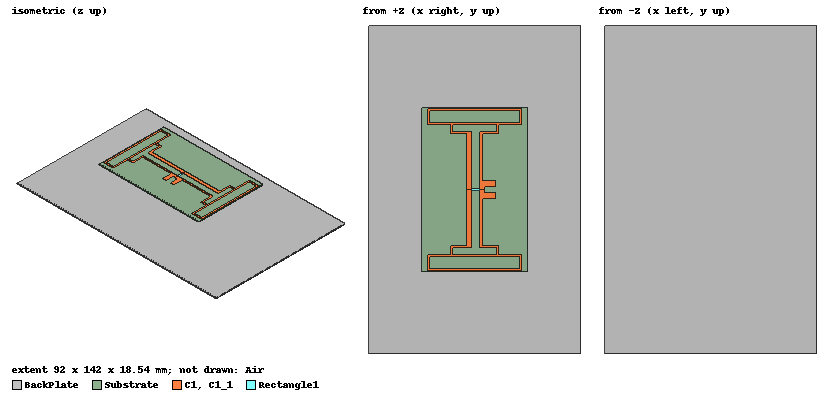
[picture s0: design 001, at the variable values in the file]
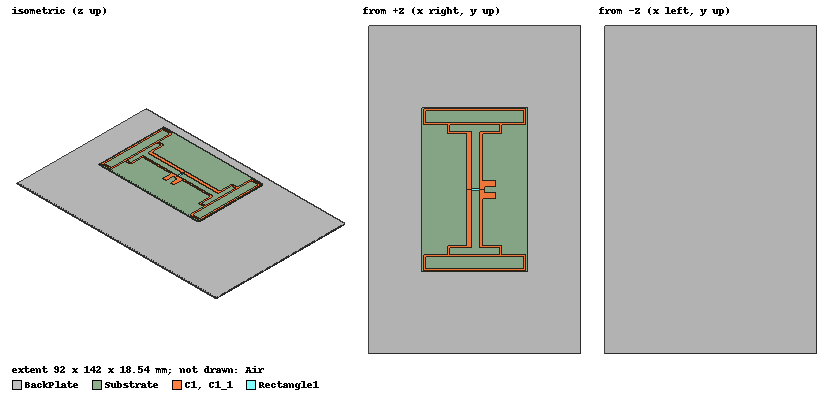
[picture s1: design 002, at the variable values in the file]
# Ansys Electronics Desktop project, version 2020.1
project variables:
  $ErValue = 4.8
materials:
  vacuum: permittivity=1
  FR4_epoxy: permittivity=$ErValue dielectric_loss_tangent=0.02
  copper: permeability=0.999991 conductivity=58000000
  air: permittivity=1.0006 permeability=1.0000004
  aluminum: permeability=1.000021 conductivity=38000000

design 001 (HFSS, DrivenModal, model units mm)
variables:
  subX = 46mm
  subY = 71mm
  h = 0.5mm
  C1X = 41mm
  C1Y = 7mm
  t = 0.035mm
  w = 1mm
  C2X = 20.7mm
  C2Y = 4.8mm
  C3X = 6.5mm
  C3Y = 25.2mm
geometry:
  Substrate [FR4_epoxy] = box(corner=(-subX/2, -subY/2, 0), size=(subX, subY, h))
  C1 [copper] = box(corner=(-C1X/2, -subY/2+0.5mm, h), size=(C1X, C1Y, t))
  C1s = box(corner=(-C1X/2+w, -subY/2+0.5mm+w, h), size=(C1X-2*w, C1Y-2*w, t))
  C2 = box(corner=(-C2X/2, -subY/2+0.5mm+c1Y-w, h), size=(C2X, C2Y, t))
  C2s = box(corner=(-C2X/2+w, -subY/2+0.5mm+c1Y, h), size=(C2X-2*w, C2Y-2*w, t))
  C3 = box(corner=(-C3X/2, -subY/2+0.5mm+c1Y+c2y-2*w, h), size=(C3X, C3Y, t))
  C3s = box(corner=(-C3X/2+w*2, -subY/2+0.5mm+c1Y+c2y-2*w, h), size=(C3X-3*w, C3Y, t))
  C1.unite(C2, C3)
  C1.subtract(C1s, C2s, C3s)
  Air [air] = box(corner=(-300mm, -300mm, -300mm), size=(600mm, 600mm, 600mm))
  C4 = box(corner=(C3X/2, -4mm, h), size=(6mm, 2.5mm, t))
  C5 = box(corner=(C3X/2, -1.5mm, h), size=(1mm, 1.5mm, t))
  C1.unite(C4, C5)
  C1_1 [copper] = C1.duplicate_mirror(point=(0mm, 0mm, 0mm), normal=(0mm, 1mm, 0mm))
  Rectangle1 = rectangle(corner=(-C3X/2+w*2, -0.5mm, h), x_size=c3x-w*3, y_size=1mm)
  BackPlate [aluminum] = box(corner=(-subX, -subY, -18mm), size=(subX*2, subY*2, h))
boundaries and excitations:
  Rad1: Radiation Objects=Air
  1: Lumped Port Objects=Rectangle1 Modes{Mode1{IntLine{middle of Rectangle1.edge(x at corner) -> middle of Rectangle1.edge(x opposite corner)} CharImp=Zpi RenormImp=50ohm}} Impedance=50ohm
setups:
  Setup1: HfssDriven Frequency=2.4GHz MaxDeltaS=0.02 MaximumPasses=20 MinimumPasses=1 MinimumConvergedPasses=1 PercentRefinement=30 BasisOrder=1 PortAccuracy=2
    sweep Sweep: 2GHz to 3GHz step 0.05GHz; Type=Discrete SaveFields SaveRadFields
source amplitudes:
  1:1: 1W 0deg
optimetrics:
  ParametricSetup1: Parametric Sim._Setups=[Setup1]
    sweep $ErValue: LIN 4 4.8 0.4
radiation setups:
  Infinite Sphere1: Infinite Sphere Theta=-180deg..180deg step 1deg Phi=-180deg..180deg step 1deg
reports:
  S Parameter Plot 1: dB(S(1,1)) vs Freq on Setup1 : Sweep [$ErValue=all]
  Gain Plot 1: dB(GainTotal) vs Phi, Theta on Setup1 : Sweep, Infinite Sphere1 [Freq=2.6GHz $ErValue=4.8]

design 002 (HFSS, DrivenModal, model units mm)
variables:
  subX = 46mm
  subY = 71mm
  h = 0.5mm
  C1X = 44mm
  C1Y = 7mm
  t = 0.035mm
  w = 1mm
  C2X = 23.7mm
  C2Y = 4.8mm
  C3X = 6.5mm
  C3Y = 25.2mm
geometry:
  Substrate [FR4_epoxy] = box(corner=(-subX/2, -subY/2, 0), size=(subX, subY, h))
  C1 [copper] = box(corner=(-C1X/2, -subY/2+0.5mm, h), size=(C1X, C1Y, t))
  C1s = box(corner=(-C1X/2+w, -subY/2+0.5mm+w, h), size=(C1X-2*w, C1Y-2*w, t))
  C2 = box(corner=(-C2X/2, -subY/2+0.5mm+c1Y-w, h), size=(C2X, C2Y, t))
  C2s = box(corner=(-C2X/2+w, -subY/2+0.5mm+c1Y, h), size=(C2X-2*w, C2Y-2*w, t))
  C3 = box(corner=(-C3X/2, -subY/2+0.5mm+c1Y+c2y-2*w, h), size=(C3X, C3Y, t))
  C3s = box(corner=(-C3X/2+w*2, -subY/2+0.5mm+c1Y+c2y-2*w, h), size=(C3X-3*w, C3Y, t))
  C1.unite(C2, C3)
  C1.subtract(C1s, C2s, C3s)
  Air [air] = box(corner=(-300mm, -300mm, -300mm), size=(600mm, 600mm, 600mm))
  C4 = box(corner=(C3X/2, -4mm, h), size=(6mm, 2.5mm, t))
  C5 = box(corner=(C3X/2, -1.5mm, h), size=(1mm, 1.5mm, t))
  C1.unite(C4, C5)
  C1_1 [copper] = C1.duplicate_mirror(point=(0mm, 0mm, 0mm), normal=(0mm, 1mm, 0mm))
  Rectangle1 = rectangle(corner=(-C3X/2+w*2, -0.5mm, h), x_size=c3x-w*3, y_size=1mm)
  BackPlate [aluminum] = box(corner=(-subX, -subY, -18mm), size=(subX*2, subY*2, h))
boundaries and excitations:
  Rad1: Radiation Objects=Air
  1: Lumped Port Objects=Rectangle1 Modes{Mode1{IntLine{middle of Rectangle1.edge(x at corner) -> middle of Rectangle1.edge(x opposite corner)} CharImp=Zpi RenormImp=50ohm}} Impedance=50ohm
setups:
  Setup1: HfssDriven Frequency=2.4GHz MaxDeltaS=0.02 MaximumPasses=20 MinimumPasses=1 MinimumConvergedPasses=1 PercentRefinement=30 BasisOrder=1 PortAccuracy=2
    sweep Sweep: 2GHz to 3GHz step 0.05GHz; Type=Discrete SaveFields SaveRadFields
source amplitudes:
  1:1: 1W 0deg
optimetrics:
  ParametricSetup1: Parametric Sim._Setups=[Setup1]
    sweep C1X: LIN 43mm 44mm 1mm
    sweep C2X: LIN 22.7mm 23.7mm 1mm
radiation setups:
  Infinite Sphere1: Infinite Sphere Theta=-180deg..180deg step 1deg Phi=-180deg..180deg step 1deg
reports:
  S Parameter Plot 1: dB(S(1,1)) vs Freq on Setup1 : Sweep [C1X=all C2X=all $ErValue=all]
  Gain Plot 1: dB(GainTotal) vs Phi, Theta on Setup1 : Sweep, Infinite Sphere1 [Freq=2.5GHz C1X=44mm C2X=23.7mm $ErValue=4.8]
